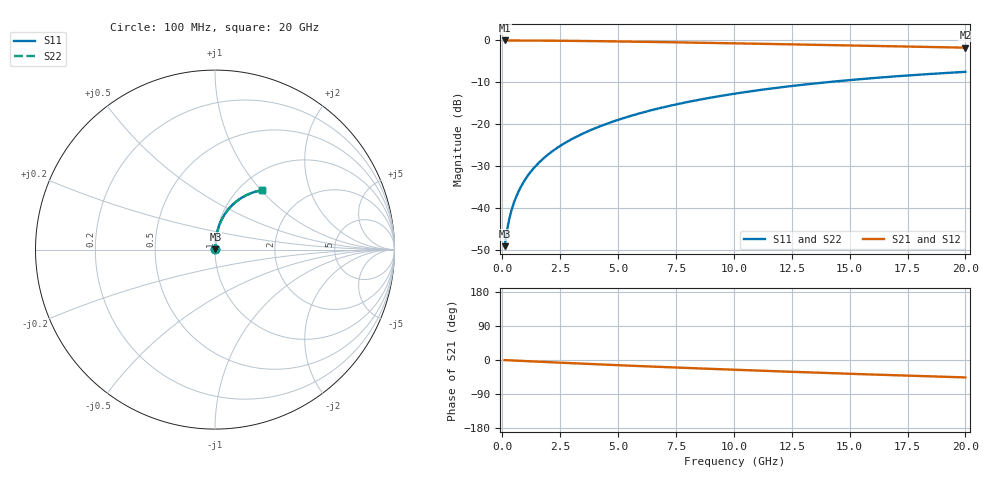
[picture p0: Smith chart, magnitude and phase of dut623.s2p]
! Touchstone file exported from HFSS 2024.1.0
!  File:  C:/UserFiles/LocalFiles/RDL_TSV_Batchsim/temp_RDL_bottom_623_1779784178.aedt
!  Generated:  04:31:48 PM May 26, 2026
!  Design:  RDL_bottom
!  Project:  temp_RDL_bottom_623_1779784178
!  Setup:  Setup1
!  Solution:  Sweep
! Variables:
!  dtsv = 10.80580581um
!  hbump = 3um
!  htsv = 55.53um
!  ldown = 651.3um
!  lrdl = 100um
!  p = 40
!  p1 = 54.7um
!  rhole = 1um
!  t = 450um
!  tdown = 4.37um
!  trdl = 3.915915916um
!  wdown = 21.37um
!  wrdl = 20um
# GHz S MA R 50.000000
! Terminal data exported
! Port[1] = RDL1_T1
! Port[2] = RDL1_T2
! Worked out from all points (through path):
!   200 points, 100 MHz to 20 GHz, reference 50 ohm
!   highest |S21| = -0.02 dB at 100 MHz (marker M1); lowest = -1.7 dB at 20 GHz (marker M2)
!   group delay of S21, straight-line fit = 6.33 ps
!   lowest |S11| = -49.0 dB at 100 MHz (marker M3), VSWR 1.01, Z = 50.3 + j0.239 ohm
!   |S11| at or under -10 dB: start of sweep to 13.96 GHz
!   |S22| runs from -49.0 to -7.5 dB; largest |S21 - S12| = 5.3e-15
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0.1  0.003544 42.0  0.9974 -0.3  0.9974 -0.3  0.003544 42.0
! Gamma 0 0 0 0
! Port Impedance 50 0 50 0
0.2  0.005421 59.2  0.9972 -0.6  0.9972 -0.6  0.005421 59.2
0.3  0.007454 66.9  0.997 -0.9  0.997 -0.9  0.007454 66.9
0.4  0.009521 71.4  0.9968 -1.2  0.9968 -1.2  0.009521 71.4
0.5  0.01161 74.3  0.9966 -1.4  0.9966 -1.4  0.01161 74.3
0.6  0.01372 76.4  0.9965 -1.7  0.9965 -1.7  0.01372 76.4
0.8  0.01798 79.2  0.9961 -2.3  0.9961 -2.3  0.01798 79.2
1.1  0.02445 81.4  0.9953 -3.1  0.9953 -3.1  0.02445 81.4
1.5  0.03318 82.9  0.9941 -4.3  0.9941 -4.3  0.03318 82.9
1.8  0.03979 83.4  0.9929 -5.1  0.9929 -5.1  0.03979 83.4
2.1  0.04645 83.7  0.9915 -5.9  0.9915 -5.9  0.04645 83.7
2.7  0.05989 83.8  0.9883 -7.6  0.9883 -7.6  0.05989 83.8
3.5  0.07811 83.4  0.9831 -9.8  0.9831 -9.8  0.07811 83.4
4.2  0.09431 82.7  0.9778 -11.6  0.9778 -11.6  0.09431 82.7
5  0.1131 81.7  0.9711 -13.7  0.9711 -13.7  0.1131 81.7
6.8  0.1559 78.7  0.9546 -18.2  0.9546 -18.2  0.1559 78.7
8.4  0.1939 75.5  0.9387 -22.0  0.9387 -22.0  0.1939 75.5
10.1  0.2333 72.0  0.9214 -25.9  0.9214 -25.9  0.2333 72.0
11.7  0.269 68.5  0.9047 -29.4  0.9047 -29.4  0.269 68.5
13.4  0.3049 64.9  0.8868 -33.0  0.8868 -33.0  0.3049 64.9
16.7  0.3678 58.0  0.8521 -39.7  0.8521 -39.7  0.3678 58.0
20  0.4216 51.7  0.8183 -46.0  0.8183 -46.0  0.4217 51.7
